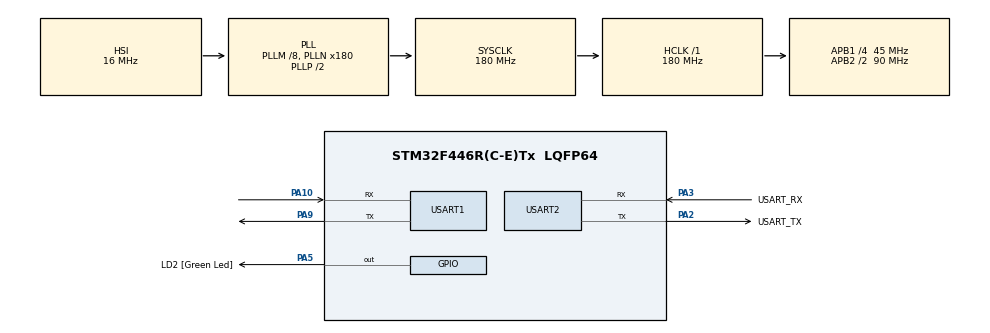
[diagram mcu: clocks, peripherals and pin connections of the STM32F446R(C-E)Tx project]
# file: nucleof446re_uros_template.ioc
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Dma.Request0=USART2_RX
Dma.Request1=USART2_TX
Dma.Request2=USART1_TX
Dma.Request3=USART1_RX
Dma.USART1_RX.3.Direction=DMA_PERIPH_TO_MEMORY
Dma.USART1_RX.3.FIFOMode=DMA_FIFOMODE_DISABLE
Dma.USART1_RX.3.Instance=DMA2_Stream2
Dma.USART1_RX.3.MemDataAlignment=DMA_MDATAALIGN_BYTE
Dma.USART1_RX.3.MemInc=DMA_MINC_ENABLE
Dma.USART1_RX.3.Mode=DMA_NORMAL
Dma.USART1_RX.3.PeriphDataAlignment=DMA_PDATAALIGN_BYTE
Dma.USART1_RX.3.PeriphInc=DMA_PINC_DISABLE
Dma.USART1_RX.3.Priority=DMA_PRIORITY_LOW
Dma.USART1_TX.2.Direction=DMA_MEMORY_TO_PERIPH
Dma.USART1_TX.2.FIFOMode=DMA_FIFOMODE_DISABLE
Dma.USART1_TX.2.Instance=DMA2_Stream7
Dma.USART1_TX.2.MemDataAlignment=DMA_MDATAALIGN_BYTE
Dma.USART1_TX.2.MemInc=DMA_MINC_ENABLE
Dma.USART1_TX.2.Mode=DMA_NORMAL
Dma.USART1_TX.2.PeriphDataAlignment=DMA_PDATAALIGN_BYTE
Dma.USART1_TX.2.PeriphInc=DMA_PINC_DISABLE
Dma.USART1_TX.2.Priority=DMA_PRIORITY_LOW
Dma.USART2_RX.0.Direction=DMA_PERIPH_TO_MEMORY
Dma.USART2_RX.0.FIFOMode=DMA_FIFOMODE_DISABLE
Dma.USART2_RX.0.Instance=DMA1_Stream5
Dma.USART2_RX.0.MemDataAlignment=DMA_MDATAALIGN_BYTE
Dma.USART2_RX.0.MemInc=DMA_MINC_ENABLE
Dma.USART2_RX.0.Mode=DMA_CIRCULAR
Dma.USART2_RX.0.PeriphDataAlignment=DMA_PDATAALIGN_BYTE
Dma.USART2_RX.0.PeriphInc=DMA_PINC_DISABLE
Dma.USART2_RX.0.Priority=DMA_PRIORITY_LOW
Dma.USART2_TX.1.Direction=DMA_MEMORY_TO_PERIPH
Dma.USART2_TX.1.FIFOMode=DMA_FIFOMODE_DISABLE
Dma.USART2_TX.1.Instance=DMA1_Stream6
Dma.USART2_TX.1.MemDataAlignment=DMA_MDATAALIGN_BYTE
Dma.USART2_TX.1.MemInc=DMA_MINC_ENABLE
Dma.USART2_TX.1.Mode=DMA_NORMAL
Dma.USART2_TX.1.PeriphDataAlignment=DMA_PDATAALIGN_BYTE
Dma.USART2_TX.1.PeriphInc=DMA_PINC_DISABLE
Dma.USART2_TX.1.Priority=DMA_PRIORITY_LOW
FREERTOS.INCLUDE_xTaskGetHandle=1
FREERTOS.Tasks01=defaultTask,16,1500,StartDefaultTask,Default,NULL,Dynamic,NULL,NULL
FREERTOS.configENABLE_FPU=1
FREERTOS.configTOTAL_HEAP_SIZE=50000
Mcu.Family=STM32F4
Mcu.Name=STM32F446R(C-E)Tx
Mcu.Package=LQFP64
NVIC.DMA1_Stream5_IRQn=true\:5\:0\:false\:false\:true\:true\:false\:true
NVIC.DMA1_Stream6_IRQn=true\:5\:0\:false\:false\:true\:true\:false\:true
NVIC.DMA2_Stream2_IRQn=true\:5\:0\:false\:false\:true\:true\:false\:true
NVIC.DMA2_Stream7_IRQn=true\:5\:0\:false\:false\:true\:true\:false\:true
NVIC.PriorityGroup=NVIC_PRIORITYGROUP_4
NVIC.TIM6_DAC_IRQn=true\:0\:0\:false\:false\:true\:false\:false\:true
NVIC.TimeBase=TIM6_DAC_IRQn
NVIC.TimeBaseIP=TIM6
NVIC.USART1_IRQn=true\:5\:0\:false\:false\:true\:true\:true\:true
NVIC.USART2_IRQn=true\:5\:0\:false\:false\:true\:true\:true\:true
PA10.Mode=Asynchronous
PA10.Signal=USART1_RX
PA13.GPIO_Label=TMS
PA13.Mode=Serial_Wire
PA13.Signal=SYS_JTMS-SWDIO
PA14.GPIO_Label=TCK
PA14.Mode=Serial_Wire
PA14.Signal=SYS_JTCK-SWCLK
PA2.GPIO_Label=USART_TX
PA2.Mode=Asynchronous
PA2.Signal=USART2_TX
PA3.GPIO_Label=USART_RX
PA3.Mode=Asynchronous
PA3.Signal=USART2_RX
PA5.GPIO_Label=LD2 [Green Led]
PA5.Signal=GPIO_Output
PA9.Mode=Asynchronous
PA9.Signal=USART1_TX
PB3.GPIO_Label=SWO
PB3.Signal=SYS_JTDO-SWO
PC14-OSC32_IN.Mode=LSE-External-Oscillator
PC14-OSC32_IN.Signal=RCC_OSC32_IN
PC15-OSC32_OUT.Mode=LSE-External-Oscillator
PC15-OSC32_OUT.Signal=RCC_OSC32_OUT
PH0-OSC_IN.Mode=HSE-External-Oscillator
PH0-OSC_IN.Signal=RCC_OSC_IN
PH1-OSC_OUT.Mode=HSE-External-Oscillator
PH1-OSC_OUT.Signal=RCC_OSC_OUT
ProjectManager.HeapSize=0x200
ProjectManager.StackSize=0x400
ProjectManager.TargetToolchain=Other Toolchains (GPDSC)
RCC.48MHZClocksFreq_Value=84000000
RCC.AHBFreq_Value=180000000
RCC.APB1CLKDivider=RCC_HCLK_DIV4
RCC.APB1Freq_Value=45000000
RCC.APB1TimFreq_Value=90000000
RCC.APB2CLKDivider=RCC_HCLK_DIV2
RCC.APB2Freq_Value=90000000
RCC.APB2TimFreq_Value=180000000
RCC.CortexFreq_Value=180000000
RCC.FLatency-AdvancedSettings=FLASH_LATENCY_5
RCC.HCLKFreq_Value=180000000
RCC.HSE_VALUE=8000000
RCC.HSI_VALUE=16000000
RCC.PLLM=8
RCC.PLLN=180
RCC.SYSCLKFreq_VALUE=180000000
RCC.SYSCLKSource=RCC_SYSCLKSOURCE_PLLCLK
RCC.USBFreq_Value=180000000
RCC.VCOOutputFreq_Value=360000000
USART1.VirtualMode=VM_ASYNC
USART2.VirtualMode=VM_ASYNC
VP_FREERTOS_VS_CMSIS_V2.Mode=CMSIS_V2
VP_SYS_VS_tim6.Mode=TIM6
board=NUCLEO-F446RE

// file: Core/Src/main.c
/* USER CODE BEGIN Header */
/**
  ******************************************************************************
  * @file           : main.c
  * @brief          : Main program body
  ******************************************************************************
  * @attention
  *
  * <h2><center>&copy; Copyright (c) 2020 STMicroelectronics.
  * All rights reserved.</center></h2>
  *
  * This software component is licensed by ST under Ultimate Liberty license
  * SLA0044, the "License"; You may not use this file except in compliance with
  * the License. You may obtain a copy of the License at:
  *                             www.st.com/SLA0044
  *
  ******************************************************************************
  */
/* USER CODE END Header */
#include "main.h"
#include "cmsis_os.h"
#include "dma.h"
#include "usart.h"
#include "gpio.h"

void SystemClock_Config(void);
void MX_FREERTOS_Init(void);
/* USER CODE BEGIN PFP */
#define BUFSIZE 4096
char buffer[BUFSIZE];
extern struct netif gnetif;
UART_HandleTypeDef *printf_uart = &huart1;
/* USER CODE END PFP */

int main(void)
{

  /* MCU Configuration--------------------------------------------------------*/

  /* Reset of all peripherals, Initializes the Flash interface and the Systick. */
  HAL_Init();

  /* Configure the system clock */
  SystemClock_Config();

  /* Initialize all configured peripherals */
  MX_GPIO_Init();
  MX_DMA_Init();
  MX_USART2_UART_Init();
  MX_USART1_UART_Init();

  /* Init scheduler */
  osKernelInitialize();  /* Call init function for freertos objects (in freertos.c) */
  MX_FREERTOS_Init();
  /* Start scheduler */
  osKernelStart();

  /* We should never get here as control is now taken by the scheduler */
  /* Infinite loop */
  while (1)
  {

  }
}

void SystemClock_Config(void)
{
  RCC_OscInitTypeDef RCC_OscInitStruct = {0};
  RCC_ClkInitTypeDef RCC_ClkInitStruct = {0};

  /** Configure the main internal regulator output voltage
  */
  __HAL_RCC_PWR_CLK_ENABLE();
  __HAL_PWR_VOLTAGESCALING_CONFIG(PWR_REGULATOR_VOLTAGE_SCALE1);
  /** Initializes the RCC Oscillators according to the specified parameters
  * in the RCC_OscInitTypeDef structure.
  */
  RCC_OscInitStruct.OscillatorType = RCC_OSCILLATORTYPE_HSI;
  RCC_OscInitStruct.HSIState = RCC_HSI_ON;
  RCC_OscInitStruct.HSICalibrationValue = RCC_HSICALIBRATION_DEFAULT;
  RCC_OscInitStruct.PLL.PLLState = RCC_PLL_ON;
  RCC_OscInitStruct.PLL.PLLSource = RCC_PLLSOURCE_HSI;
  RCC_OscInitStruct.PLL.PLLM = 8;
  RCC_OscInitStruct.PLL.PLLN = 180;
  RCC_OscInitStruct.PLL.PLLP = RCC_PLLP_DIV2;
  RCC_OscInitStruct.PLL.PLLQ = 2;
  RCC_OscInitStruct.PLL.PLLR = 2;
  if (HAL_RCC_OscConfig(&RCC_OscInitStruct) != HAL_OK)
  {
    Error_Handler();
  }
  /** Activate the Over-Drive mode
  */
  if (HAL_PWREx_EnableOverDrive() != HAL_OK)
  {
    Error_Handler();
  }
  /** Initializes the CPU, AHB and APB buses clocks
  */
  RCC_ClkInitStruct.ClockType = RCC_CLOCKTYPE_HCLK|RCC_CLOCKTYPE_SYSCLK
                              |RCC_CLOCKTYPE_PCLK1|RCC_CLOCKTYPE_PCLK2;
  RCC_ClkInitStruct.SYSCLKSource = RCC_SYSCLKSOURCE_PLLCLK;
  RCC_ClkInitStruct.AHBCLKDivider = RCC_SYSCLK_DIV1;
  RCC_ClkInitStruct.APB1CLKDivider = RCC_HCLK_DIV4;
  RCC_ClkInitStruct.APB2CLKDivider = RCC_HCLK_DIV2;

  if (HAL_RCC_ClockConfig(&RCC_ClkInitStruct, FLASH_LATENCY_5) != HAL_OK)
  {
    Error_Handler();
  }
}

 /**
  * @brief  Period elapsed callback in non blocking mode
  * @note   This function is called  when TIM6 interrupt took place, inside
  * HAL_TIM_IRQHandler(). It makes a direct call to HAL_IncTick() to increment
  * a global variable "uwTick" used as application time base.
  * @param  htim : TIM handle
  * @retval None
  */
void HAL_TIM_PeriodElapsedCallback(TIM_HandleTypeDef *htim)
{
  if (htim->Instance == TIM6) {
    HAL_IncTick();
  }
}

void Error_Handler(void)
{
  /* USER CODE BEGIN Error_Handler_Debug */
  /* User can add his own implementation to report the HAL error return state */
  /*
  __disable_irq();
  while (1)
  {
  }
  */
  /* USER CODE END Error_Handler_Debug */
}

/************************ (C) COPYRIGHT STMicroelectronics *****END OF FILE****/

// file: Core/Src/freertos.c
/* USER CODE BEGIN Header */
/**
  ******************************************************************************
  * File Name          : freertos.c
  * Description        : Code for freertos applications
  ******************************************************************************
  * @attention
  *
  * <h2><center>&copy; Copyright (c) 2020 STMicroelectronics.
  * All rights reserved.</center></h2>
  *
  * This software component is licensed by ST under Ultimate Liberty license
  * SLA0044, the "License"; You may not use this file except in compliance with
  * the License. You may obtain a copy of the License at:
  *                             www.st.com/SLA0044
  *
  ******************************************************************************
  */
/* USER CODE END Header */

#include "FreeRTOS.h"
#include "task.h"
#include "main.h"
#include "cmsis_os.h"

/* USER CODE BEGIN Includes */
#include <stdbool.h>
#include "allocators.h"
#include "cmsis_os2.h"
#include <usart.h>

#include <rcl/rcl.h>
#include <rmw_microxrcedds_c/config.h>
#include <ucdr/microcdr.h>
#include <uxr/client/client.h>

#include <rmw_microros/rmw_microros.h>

#include <microros_transports.h>

/* USER CODE END Includes */

/* Definitions for defaultTask */
osThreadId_t defaultTaskHandle;
const osThreadAttr_t defaultTask_attributes = {
  .name = "defaultTask",
  .priority = (osPriority_t) osPriorityBelowNormal,
  .stack_size = 1500 * 4
};

void StartDefaultTask(void *argument);

void MX_FREERTOS_Init(void); /* (MISRA C 2004 rule 8.1) */

void MX_FREERTOS_Init(void) {

  /* Create the thread(s) */
  /* creation of defaultTask */
  defaultTaskHandle = osThreadNew(StartDefaultTask, NULL, &defaultTask_attributes);

}

void StartDefaultTask(void *argument)
{
  /* USER CODE BEGIN StartDefaultTask */
  /* Infinite loop */
  HAL_GPIO_WritePin(GPIOG, GPIO_PIN_6, GPIO_PIN_SET);
  bool availableNetwork = false;

#ifdef RMW_UXRCE_TRANSPORT_CUSTOM
  availableNetwork = true;
  rmw_uros_set_custom_transport(
    true,
    (void *) &huart2,
    freertos_serial_open,
    freertos_serial_close,
    freertos_serial_write,
    freertos_serial_read);
#elif defined(RMW_UXRCE_TRANSPORT_UDP)
  printf("Ethernet Initialization\r\n");

  // Waiting for an IP
  printf("Waiting for IP\r\n");
  int retries = 0;
  while (gnetif.ip_addr.addr == 0 && retries < 10) {
    osDelay(500);
    retries++;
  };

  availableNetwork = (gnetif.ip_addr.addr != 0);
  if (availableNetwork) {
    printf("IP: %s\r\n", ip4addr_ntoa(&gnetif.ip_addr));
  } else {
    printf("Impossible to retrieve an IP\n");
  }
#endif

  // Launch app thread when IP configured
  rcl_allocator_t freeRTOS_allocator = rcutils_get_zero_initialized_allocator();
  freeRTOS_allocator.allocate = __freertos_allocate;
  freeRTOS_allocator.deallocate = __freertos_deallocate;
  freeRTOS_allocator.reallocate = __freertos_reallocate;
  freeRTOS_allocator.zero_allocate = __freertos_zero_allocate;

  if (!rcutils_set_default_allocator(&freeRTOS_allocator))
  {
    printf("Error on default allocators (line %d)\n", __LINE__);
  }

  osThreadAttr_t attributes;
  memset(&attributes, 0x0, sizeof(osThreadAttr_t));
  attributes.name = "microROS_app";
  attributes.stack_size = 5 * 3000;
  attributes.priority = (osPriority_t)osPriorityNormal1;
  osThreadNew(appMain, NULL, &attributes);
  osDelay(500);
  char ptrTaskList[500];
  vTaskList(ptrTaskList);
  printf("**********************************\n");
  printf("Task  State   Prio    Stack    Num\n");
  printf("**********************************\n");
  printf(ptrTaskList);
  printf("**********************************\n");

  TaskHandle_t xHandle;
  xHandle = xTaskGetHandle("microROS_app");

  while (1)
  {
    if (eTaskGetState(xHandle) != eSuspended && availableNetwork)
    {
      HAL_GPIO_WritePin(LD2_GPIO_Port, LD2_Pin, GPIO_PIN_RESET);
      osDelay(100);
      HAL_GPIO_WritePin(LD2_GPIO_Port, LD2_Pin, GPIO_PIN_SET);
      osDelay(100);
      HAL_GPIO_WritePin(LD2_GPIO_Port, LD2_Pin, GPIO_PIN_RESET);
      osDelay(150);
      HAL_GPIO_WritePin(LD2_GPIO_Port, LD2_Pin, GPIO_PIN_SET);
      osDelay(500);
    }
    else
    {
      HAL_GPIO_WritePin(LD2_GPIO_Port, LD2_Pin, GPIO_PIN_RESET);
      osDelay(1000);
      HAL_GPIO_WritePin(LD2_GPIO_Port, LD2_Pin, GPIO_PIN_SET);
      osDelay(1000);
    }
  }
  /* USER CODE END StartDefaultTask */
}

/************************ (C) COPYRIGHT STMicroelectronics *****END OF FILE****/
